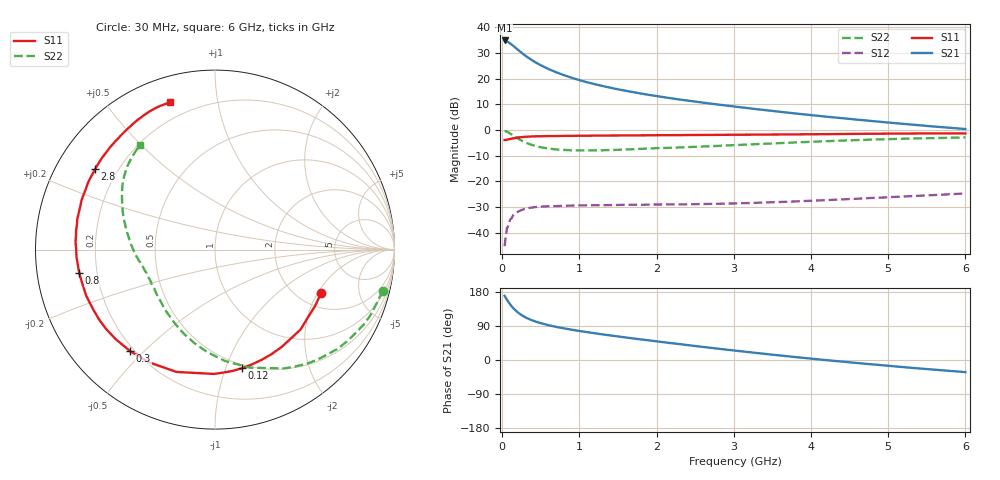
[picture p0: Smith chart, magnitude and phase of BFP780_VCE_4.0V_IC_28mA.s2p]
! Infineon Technologies  Discrete & RF Semiconductors
! BFP780
! VCE =  4.0 V,  IC =  28 mA
! Common Emitter S-Parameters:  Jul 2015
# GHz  S  MA  R  50
!  f  S11  S21  S12  S22
! GHz  MAG  ANG  MAG  ANG  MAG  ANG  MAG  ANG
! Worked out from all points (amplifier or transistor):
!   75 points, 30 MHz to 6 GHz, reference 50 ohm
!   highest |S21| = 34.8 dB at 30 MHz (marker M1)
!   |S21| within 3 dB of that: start of sweep to 177.4 MHz
!   unconditionally stable (mu >= 1): 2.196 GHz to end of sweep
!   at 150 MHz: K = 0.12, MSG = 32.7 dB, |S12| = -32.9 dB
!   at 2.3 GHz: K = 1.05, MAG = 19.1 dB, |S12| = -28.9 dB
!   at 6 GHz: K = 1.29, MAG = 9.3 dB, |S12| = -24.7 dB
!   S11 on the Smith chart (normalised r, x): 30 MHz: 2.60, -2.15; 120 MHz: 0.46, -1.14; 300 MHz: 0.18, -0.45; 800 MHz: 0.13, -0.09; 2.8 GHz: 0.12, +0.30; 6 GHz: 0.12, +0.73
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0.03  0.639 -22.5  55.19 169.5  0.0055 68.3  0.9622 -13.8
0.05  0.6414 -36.7  53.87 162.4  0.0093 63.2  0.9401 -22.9
0.08  0.6574 -55.7  50.9 153.0  0.0143 63.9  0.8945 -35.2
0.1  0.6668 -67.1  48.44 147.4  0.0179 58.6  0.8566 -42.9
0.12  0.6782 -77.3  46.02 142.1  0.0191 52.7  0.8215 -50.2
0.15  0.6927 -90.5  42.32 135.2  0.0226 47.8  0.7662 -59.8
0.2  0.7146 -107.5  36.58 125.9  0.0256 40.8  0.6857 -73.6
0.25  0.7272 -120.2  31.85 118.4  0.0279 35.4  0.6229 -84.9
0.3  0.7372 -129.9  27.86 112.5  0.0294 30.6  0.5719 -94.5
0.35  0.7449 -137.8  24.69 107.7  0.0305 27.0  0.5325 -102.6
0.4  0.7508 -143.9  22.07 103.7  0.0313 24.4  0.5031 -109.5
0.5  0.756 -153.3  18.14 97.1  0.0323 20.2  0.4609 -120.6
0.6  0.7622 -160.2  15.33 91.8  0.033 18.1  0.4361 -129.5
0.8  0.7675 -170.1  11.63 83.5  0.0336 15.0  0.4097 -142.2
1.1  0.7734 179.6  8.476 73.5  0.0342 12.7  0.3997 -155.1
1.5  0.7816 169.8  6.189 62.2  0.0348 11.6  0.4118 -166.1
2.1  0.7934 158.1  4.328 46.7  0.0357 11.8  0.4467 -177.2
2.8  0.8044 146.2  3.123 29.8  0.0368 13.5  0.4913 170.5
3.1  0.8102 141.4  2.752 22.9  0.0377 14.6  0.5154 165.4
4.1  0.8291 126.9  1.883 1.6  0.0427 17.2  0.5972 150.2
5.1  0.8521 115.3  1.356 -17.1  0.0501 16.6  0.6699 137.1
6  0.8577 106.9  1.045 -32.0  0.0583 13.4  0.7162 125.6
